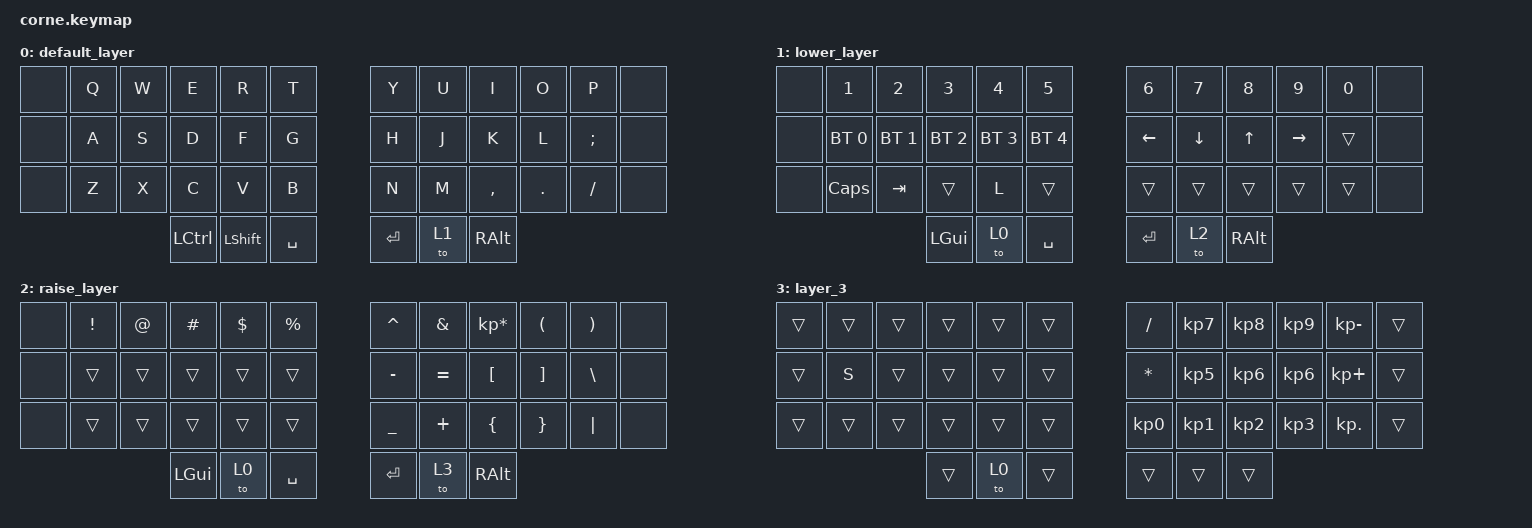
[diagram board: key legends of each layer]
/*
 * Copyright (c) 2020 The ZMK Contributors
 *
 * SPDX-License-Identifier: MIT
 */

#include <behaviors.dtsi>
#include <dt-bindings/zmk/bt.h>
#include <dt-bindings/zmk/keys.h>

/ {
    keymap {
        compatible = "zmk,keymap";

        default_layer {
            // -----------------------------------------------------------------------------------------
            // |  TAB |  Q  |  W  |  E  |  R  |  T  |   |  Y  |  U   |  I  |  O  |  P  | BKSP |
            // | CTRL |  A  |  S  |  D  |  F  |  G  |   |  H  |  J   |  K  |  L  |  ;  |  '   |
            // | SHFT |  Z  |  X  |  C  |  V  |  B  |   |  N  |  M   |  ,  |  .  |  /  | ESC  |
            //                    | GUI | LWR | SPC |   | ENT | RSE  | ALT |

            bindings = <
&none  &kp Q  &kp W      &kp E       &kp R      &kp T      &kp Y  &kp U      &kp I    &kp O     &kp P  &none
&none  &kp A  &kp S      &kp D       &kp F      &kp G      &kp H  &kp J      &kp K    &kp L  &kp SEMI  &none
&none  &kp Z  &kp X      &kp C       &kp V      &kp B      &kp N  &kp M  &kp COMMA  &kp DOT  &kp FSLH  &none
                     &kp LCTRL  &kp LSHIFT  &kp SPACE    &kp RET  &to 1   &kp RALT
            >;
        };

        lower_layer {
            // -----------------------------------------------------------------------------------------
            // |  TAB |  1  |  2  |  3  |  4  |  5  |   |  6  |  7  |  8  |  9  |  0  | BKSP |
            // | BTCLR| BT1 | BT2 | BT3 | BT4 | BT5 |   | LFT | DWN |  UP | RGT |     |      |
            // | SHFT |     |     |     |     |     |   |     |     |     |     |     |      |
            //                    | GUI |     | SPC |   | ENT |     | ALT |

            bindings = <
&none        &kp N1        &kp N2        &kp N3        &kp N4        &kp N5      &kp N6    &kp N7    &kp N8     &kp N9  &kp N0  &none
&none  &bt BT_SEL 0  &bt BT_SEL 1  &bt BT_SEL 2  &bt BT_SEL 3  &bt BT_SEL 4    &kp LEFT  &kp DOWN    &kp UP  &kp RIGHT  &trans  &none
&none  &kp CAPSLOCK       &kp TAB        &trans         &kp L        &trans      &trans    &trans    &trans     &trans  &trans  &none
                                       &kp LGUI         &to 0     &kp SPACE     &kp RET     &to 2  &kp RALT
            >;
        };

        raise_layer {
            // -----------------------------------------------------------------------------------------
            // |  TAB |  !  |  @  |  #  |  $  |  %  |   |  ^  |  &  |  *  |  (  |  )  | BKSP |
            // | CTRL |     |     |     |     |     |   |  -  |  =  |  [  |  ]  |  \  |  `   |
            // | SHFT |     |     |     |     |     |   |  _  |  +  |  {  |  }  | "|" |  ~   |
            //                    | GUI |     | SPC |   | ENT |     | ALT |

            bindings = <
&none  &kp EXCL  &kp AT  &kp HASH  &kp DLLR  &kp PRCNT    &kp CARET   &kp AMPS  &kp KP_MULTIPLY  &kp LPAR  &kp RPAR  &none
&none    &trans  &trans    &trans    &trans     &trans    &kp MINUS  &kp EQUAL         &kp LBKT  &kp RBKT  &kp BSLH  &none
&none    &trans  &trans    &trans    &trans     &trans    &kp UNDER   &kp PLUS         &kp LBRC  &kp RBRC  &kp PIPE  &none
                         &kp LGUI     &to 0  &kp SPACE      &kp RET      &to 3         &kp RALT
            >;
        };

        layer_3 {
            bindings = <
&trans  &trans  &trans  &trans  &trans  &trans           &kp FSLH  &kp KP_NUMBER_7  &kp KP_NUMBER_8  &kp KP_NUMBER_9  &kp KP_SUBTRACT  &trans
&trans   &kp S  &trans  &trans  &trans  &trans          &kp ASTRK  &kp KP_NUMBER_5  &kp KP_NUMBER_6  &kp KP_NUMBER_6      &kp KP_PLUS  &trans
&trans  &trans  &trans  &trans  &trans  &trans    &kp KP_NUMBER_0  &kp KP_NUMBER_1  &kp KP_NUMBER_2  &kp KP_NUMBER_3       &kp KP_DOT  &trans
                        &trans   &to 0  &trans             &trans           &trans           &trans
            >;
        };
    };
};
